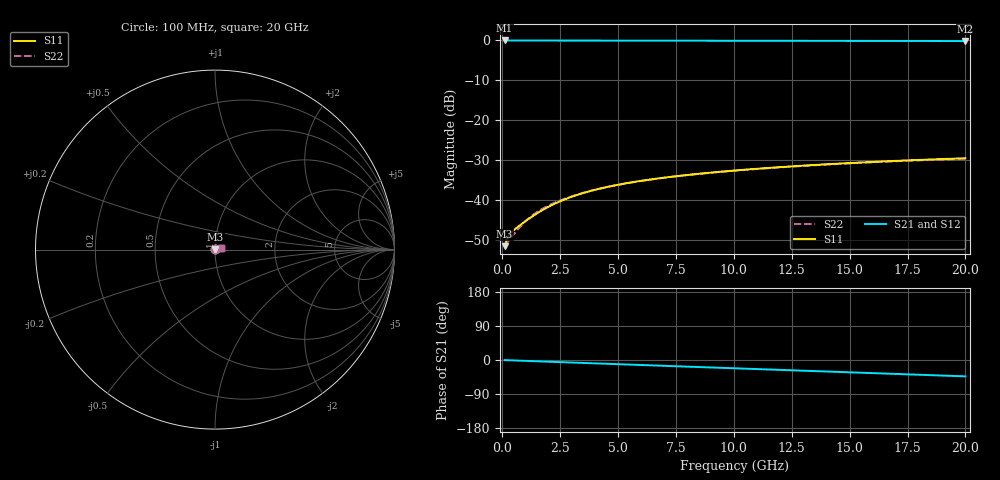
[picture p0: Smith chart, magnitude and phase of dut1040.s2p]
! Touchstone file exported from HFSS 2026.1.0
!  File:  C:/ffzhzh/LocalFiles/Ansys_Project_Files/temp_train_BSMRDL_1040_1783173744_55132.aedt
!  Generated:  10:03:31 PM Jul  4, 2026
!  Design:  BSMRDL
!  Project:  temp_train_BSMRDL_1040_1783173744_55132
! Variables:
!  h_bsmrdl = 4.93um
!  h_ox = 20um
!  h_rdl = 5um
!  h_sub = 80um
!  h_tmrdl = 5um
!  h_tsv = 80um
!  h_via = 3um
!  l_bsmrdl = 771.8um
!  l_sub = 1171.8um
!  l_tmrdl = 200um
!  m_sub = 200um
!  pitch = 31.87um
!  r_tsv = 6um
!  s_tmrdl = 10um
!  w_bsmrdl = 25.84um
!  w_sub = 500um
!  w_tmrdl = 12um
!  x_tsv_center1 = 206um
!  x_tsv_center2 = 1003.64um
!  x_tsv_center3 = 1215.64um
!  x_tsv_center4 = 2013.28um
!  x_tsv_center5 = 2225.28um
!  x_tsv_center6 = 3022.92um
# GHz S MA R 50.000000
! Terminal data exported
! Port[1] = BSM_RDL1_1_T1
! Port[2] = BSM_RDL1_1_T2
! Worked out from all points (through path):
!   200 points, 100 MHz to 20 GHz, reference 50 ohm
!   highest |S21| = -0.02 dB at 100 MHz (marker M1); lowest = -0.2 dB at 20 GHz (marker M2)
!   group delay of S21, straight-line fit = 5.97 ps
!   lowest |S11| = -51.6 dB at 100 MHz (marker M3), VSWR 1.01, Z = 50.2 + j0.0893 ohm
!   |S11| at or under -10 dB: start of sweep to end of sweep
!   |S22| runs from -51.6 to -29.6 dB; largest |S21 - S12| = 4.2e-15
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0.1  0.002645 19.6  0.9975 -0.3  0.9975 -0.3  0.002645 19.6
! Gamma 0 0 0 0
! Port Impedance 50 0 50 0
0.2  0.00324 25.6  0.9971 -0.5  0.9971 -0.5  0.00293 22.9
0.3  0.003657 27.7  0.9967 -0.7  0.9967 -0.7  0.003168 27.8
0.4  0.003959 29.5  0.9965 -0.9  0.9965 -0.9  0.00344 32.5
0.7  0.004687 35.4  0.9961 -1.6  0.9961 -1.6  0.004406 41.9
0.9  0.005182 39.1  0.9959 -2.1  0.9959 -2.1  0.005094 45.2
1.1  0.005708 42.1  0.9958 -2.5  0.9958 -2.5  0.005773 47.2
1.4  0.00654 45.4  0.9955 -3.2  0.9955 -3.2  0.006746 48.8
1.8  0.007687 47.9  0.9951 -4.1  0.9951 -4.1  0.007953 49.6
2.3  0.009111 49.2  0.9946 -5.2  0.9946 -5.2  0.009343 49.7
2.9  0.01074 49.3  0.9939 -6.5  0.9939 -6.5  0.01089 49.3
3.5  0.01226 48.5  0.9931 -7.8  0.9931 -7.8  0.01232 48.4
4.2  0.01388 47.1  0.9923 -9.4  0.9923 -9.4  0.01388 47.2
4.9  0.01535 45.6  0.9914 -10.9  0.9914 -10.9  0.01532 45.7
5.8  0.01706 43.5  0.9904 -12.8  0.9904 -12.8  0.01701 43.8
6.8  0.01877 41.3  0.9894 -15.0  0.9894 -15.0  0.01872 41.6
8.3  0.02108 38.2  0.988 -18.2  0.988 -18.2  0.021 38.5
10.1  0.02354 34.5  0.9866 -22.1  0.9866 -22.1  0.02342 35.0
11.7  0.02551 31.4  0.9855 -25.5  0.9855 -25.5  0.02535 31.9
13.4  0.02743 28.1  0.9844 -29.1  0.9844 -29.1  0.02722 28.7
16.7  0.0307 21.7  0.9825 -36.1  0.9825 -36.1  0.0304 22.6
20  0.03339 15.1  0.9807 -43.2  0.9807 -43.2  0.03296 16.3
